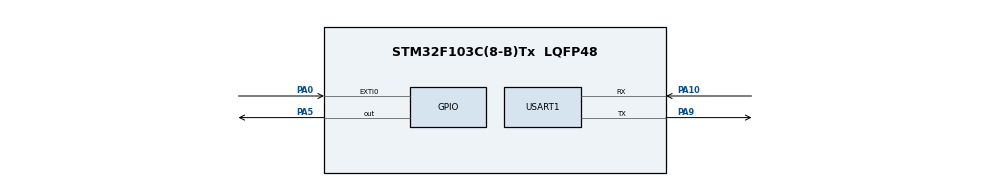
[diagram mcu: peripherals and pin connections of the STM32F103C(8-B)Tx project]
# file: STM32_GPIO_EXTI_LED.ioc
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Mcu.Family=STM32F1
Mcu.Name=STM32F103C(8-B)Tx
Mcu.Package=LQFP48
NVIC.EXTI0_IRQn=true\:0\:0\:false\:false\:true\:true\:true\:true
NVIC.PriorityGroup=NVIC_PRIORITYGROUP_4
NVIC.TIM2_IRQn=true\:0\:0\:false\:false\:true\:true\:true\:true
NVIC.USART1_IRQn=true\:0\:0\:false\:false\:true\:true\:true\:true
PA0-WKUP.GPIO_PuPd=GPIO_PULLDOWN
PA0-WKUP.Signal=GPXTI0
PA10.Mode=Asynchronous
PA10.Signal=USART1_RX
PA5.Signal=GPIO_Output
PA9.Mode=Asynchronous
PA9.Signal=USART1_TX
ProjectManager.HeapSize=0x200
ProjectManager.StackSize=0x400
ProjectManager.TargetToolchain=CMake
RCC.APB1Freq_Value=8000000
RCC.APB2Freq_Value=8000000
TIM2.Period=0
TIM2.Prescaler=7999
USART1.VirtualMode=VM_ASYNC
VP_SYS_VS_ND.Mode=No_Debug
VP_TIM2_VS_ClockSourceINT.Mode=Internal
board=custom

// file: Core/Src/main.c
/* USER CODE BEGIN Header */
/**
  ******************************************************************************
  * @file           : main.c
  * @brief          : Main program body
  ******************************************************************************
  * @attention
  *
  * Copyright (c) 2026 STMicroelectronics.
  * All rights reserved.
  *
  * This software is licensed under terms that can be found in the LICENSE file
  * in the root directory of this software component.
  * If no LICENSE file comes with this software, it is provided AS-IS.
  *
  ******************************************************************************
  */
/* USER CODE END Header */
#include "main.h"
#include "stm32f103xb.h"
#include "stm32f1xx_hal_gpio.h"
#include "stm32f1xx_hal_uart.h"

/* USER CODE BEGIN Includes */
#include <stddef.h>
#include <stdint.h>
#include <string.h>
/* USER CODE END Includes */

/* USER CODE BEGIN PTD */

typedef enum {
  LED_MODE_ON,
  LED_MODE_OFF,
  LED_MODE_BLINK
} LED_Mode_t;

typedef enum {
  COMMAND_STATE_NORMAL,
  COMMAND_STATE_DISCARD
} CommandState_t;

typedef void (*CommandHandler_t)(char *argument);

typedef struct {
  const char *name;
  CommandHandler_t handler;
  uint8_t require_argument;
} Command_t;

typedef struct {
  char *command;
  char *argument;
  char *extra_argument;
} ParsedCommand_t;

/* USER CODE END PTD */

/* USER CODE BEGIN PD */

#define BUTTON_DEBOUNCE_TIME 50
#define LED_PERIOD 500
#define HEARTBEAT_PERIOD 1000
#define UART_RX_RING_SIZE 64
#define COMMAND_BUFFER_SIZE 64
#define UART_TX_TIMEOUT 100

/* USER CODE END PD */

TIM_HandleTypeDef htim2;

UART_HandleTypeDef huart1;

/* USER CODE BEGIN PV */

volatile uint8_t button_pressed = 0;
uint32_t last_button_tick = 0;

volatile uint32_t timer_tick  = 0;

uint8_t rx_data;
uint8_t command_buffer[COMMAND_BUFFER_SIZE];
uint8_t uart_rx_ring[UART_RX_RING_SIZE];
volatile uint8_t uart_rx_head = 0;
volatile uint8_t uart_rx_tail = 0;
volatile uint8_t uart_rx_overflow = 0;
volatile uint8_t command_overflow = 0;
volatile uint8_t command_ready = 0;

static CommandState_t command_state = COMMAND_STATE_NORMAL;

LED_Mode_t led_mode = LED_MODE_BLINK;

/* USER CODE END PV */

void SystemClock_Config(void);
static void MX_GPIO_Init(void);
static void MX_TIM2_Init(void);
static void MX_USART1_UART_Init(void);

/* USER CODE BEGIN PFP */
void LED_Task(void);
void Heartbeat_Task(void);
void Command_Task(void);

uint8_t UART_RingBuffer_Put(uint8_t data);
uint8_t UART_RingBuffer_Get(uint8_t *data);
void UART_Error_BufferOverflow(void);
void Command_Error_BufferOverflow(void);
void UART_SendString(const char *str);
uint8_t Command_Parse(char *buffer, ParsedCommand_t *res);
void Command_FindAndExecute(char *command, char *argument, char *extra_argument);

/* USER CODE END PFP */

int main(void)
{

  /* MCU Configuration--------------------------------------------------------*/

  /* Reset of all peripherals, Initializes the Flash interface and the Systick. */
  HAL_Init();

  /* Configure the system clock */
  SystemClock_Config();

  /* Initialize all configured peripherals */
  MX_GPIO_Init();
  MX_TIM2_Init();
  MX_USART1_UART_Init();
  /* USER CODE BEGIN 2 */
  HAL_TIM_Base_Start_IT(&htim2);
  HAL_UART_Receive_IT(&huart1, &rx_data, 1);
  /* USER CODE END 2 */

  /* Infinite loop */
  while (1)
  {

    /* USER CODE BEGIN 3 */
    LED_Task();
    Heartbeat_Task();
    Command_Task();
    UART_Error_BufferOverflow();
    Command_Error_BufferOverflow();

    if (button_pressed) {
      button_pressed = 0;

      if(led_mode == LED_MODE_ON) {
        led_mode = LED_MODE_OFF;
      }
      else if (led_mode == LED_MODE_OFF) {
        led_mode = LED_MODE_ON;
      }
      else if (led_mode == LED_MODE_BLINK) {
        led_mode = LED_MODE_ON;
      }
    }
  }
  /* USER CODE END 3 */
}

void SystemClock_Config(void)
{
  RCC_OscInitTypeDef RCC_OscInitStruct = {0};
  RCC_ClkInitTypeDef RCC_ClkInitStruct = {0};

  /** Initializes the RCC Oscillators according to the specified parameters
  * in the RCC_OscInitTypeDef structure.
  */
  RCC_OscInitStruct.OscillatorType = RCC_OSCILLATORTYPE_HSI;
  RCC_OscInitStruct.HSIState = RCC_HSI_ON;
  RCC_OscInitStruct.HSICalibrationValue = RCC_HSICALIBRATION_DEFAULT;
  RCC_OscInitStruct.PLL.PLLState = RCC_PLL_NONE;
  if (HAL_RCC_OscConfig(&RCC_OscInitStruct) != HAL_OK)
  {
    Error_Handler();
  }

  /** Initializes the CPU, AHB and APB buses clocks
  */
  RCC_ClkInitStruct.ClockType = RCC_CLOCKTYPE_HCLK|RCC_CLOCKTYPE_SYSCLK
                              |RCC_CLOCKTYPE_PCLK1|RCC_CLOCKTYPE_PCLK2;
  RCC_ClkInitStruct.SYSCLKSource = RCC_SYSCLKSOURCE_HSI;
  RCC_ClkInitStruct.AHBCLKDivider = RCC_SYSCLK_DIV1;
  RCC_ClkInitStruct.APB1CLKDivider = RCC_HCLK_DIV1;
  RCC_ClkInitStruct.APB2CLKDivider = RCC_HCLK_DIV1;

  if (HAL_RCC_ClockConfig(&RCC_ClkInitStruct, FLASH_LATENCY_0) != HAL_OK)
  {
    Error_Handler();
  }
}

static void MX_TIM2_Init(void)
{

  TIM_ClockConfigTypeDef sClockSourceConfig = {0};
  TIM_MasterConfigTypeDef sMasterConfig = {0};

  htim2.Instance = TIM2;
  htim2.Init.Prescaler = 7999;
  htim2.Init.CounterMode = TIM_COUNTERMODE_UP;
  htim2.Init.Period = 0;
  htim2.Init.ClockDivision = TIM_CLOCKDIVISION_DIV1;
  htim2.Init.AutoReloadPreload = TIM_AUTORELOAD_PRELOAD_DISABLE;
  if (HAL_TIM_Base_Init(&htim2) != HAL_OK)
  {
    Error_Handler();
  }
  sClockSourceConfig.ClockSource = TIM_CLOCKSOURCE_INTERNAL;
  if (HAL_TIM_ConfigClockSource(&htim2, &sClockSourceConfig) != HAL_OK)
  {
    Error_Handler();
  }
  sMasterConfig.MasterOutputTrigger = TIM_TRGO_RESET;
  sMasterConfig.MasterSlaveMode = TIM_MASTERSLAVEMODE_DISABLE;
  if (HAL_TIMEx_MasterConfigSynchronization(&htim2, &sMasterConfig) != HAL_OK)
  {
    Error_Handler();
  }

}

static void MX_USART1_UART_Init(void)
{

  huart1.Instance = USART1;
  huart1.Init.BaudRate = 115200;
  huart1.Init.WordLength = UART_WORDLENGTH_8B;
  huart1.Init.StopBits = UART_STOPBITS_1;
  huart1.Init.Parity = UART_PARITY_NONE;
  huart1.Init.Mode = UART_MODE_TX_RX;
  huart1.Init.HwFlowCtl = UART_HWCONTROL_NONE;
  huart1.Init.OverSampling = UART_OVERSAMPLING_16;
  if (HAL_UART_Init(&huart1) != HAL_OK)
  {
    Error_Handler();
  }

}

static void MX_GPIO_Init(void)
{
  GPIO_InitTypeDef GPIO_InitStruct = {0};

  /* GPIO Ports Clock Enable */
  __HAL_RCC_GPIOA_CLK_ENABLE();

  /*Configure GPIO pin Output Level */
  HAL_GPIO_WritePin(GPIOA, GPIO_PIN_5, GPIO_PIN_RESET);

  /*Configure GPIO pin : PA0 */
  GPIO_InitStruct.Pin = GPIO_PIN_0;
  GPIO_InitStruct.Mode = GPIO_MODE_IT_RISING;
  GPIO_InitStruct.Pull = GPIO_PULLDOWN;
  HAL_GPIO_Init(GPIOA, &GPIO_InitStruct);

  /*Configure GPIO pin : PA5 */
  GPIO_InitStruct.Pin = GPIO_PIN_5;
  GPIO_InitStruct.Mode = GPIO_MODE_OUTPUT_PP;
  GPIO_InitStruct.Pull = GPIO_NOPULL;
  GPIO_InitStruct.Speed = GPIO_SPEED_FREQ_LOW;
  HAL_GPIO_Init(GPIOA, &GPIO_InitStruct);

  /* EXTI interrupt init*/
  HAL_NVIC_SetPriority(EXTI0_IRQn, 0, 0);
  HAL_NVIC_EnableIRQ(EXTI0_IRQn);

}

/* USER CODE BEGIN 4 */

void HAL_GPIO_EXTI_Callback(uint16_t GPIO_Pin)
{
  if (GPIO_Pin == GPIO_PIN_0) {
    uint32_t current_tick = HAL_GetTick();

    if((current_tick - last_button_tick) >= BUTTON_DEBOUNCE_TIME) {
      button_pressed = 1;
      last_button_tick = current_tick;
    }
  }
}

void HAL_TIM_PeriodElapsedCallback(TIM_HandleTypeDef *htim) {
  if (htim->Instance == TIM2) {
    timer_tick++;
  }
}

void LED_Task(void) {
  static uint32_t last_tick = 0;
  static LED_Mode_t led_previous_mode = LED_MODE_OFF;

  if (led_mode != led_previous_mode) {
    led_previous_mode = led_mode;
    last_tick = timer_tick;
  }

  switch (led_mode) {
    case LED_MODE_ON:
      HAL_GPIO_WritePin(GPIOA, GPIO_PIN_5, GPIO_PIN_SET);
      break;

    case LED_MODE_OFF:
      HAL_GPIO_WritePin(GPIOA, GPIO_PIN_5, GPIO_PIN_RESET);
      break;

    case LED_MODE_BLINK:
      if(timer_tick - last_tick >= LED_PERIOD) {
        last_tick += LED_PERIOD;
        HAL_GPIO_TogglePin(GPIOA, GPIO_PIN_5);
      }
      break;

    default:
      led_mode = LED_MODE_OFF;
      break;
  }
}

void Heartbeat_Task(void) {
  static uint32_t last_tick = 0;

  if((timer_tick - last_tick) >= HEARTBEAT_PERIOD) {
    last_tick += HEARTBEAT_PERIOD;
    // ...
  }
}

void Command_Task(void) {
  uint8_t data;
  static uint8_t command_index = 0;

  if (command_ready) {
    command_ready = 0;

    ParsedCommand_t parsed;

    if (!Command_Parse((char*)command_buffer, &parsed)) {
      UART_SendString("ERROR: UNKNOWN COMMAND\r\n");
      return;
    }

    Command_FindAndExecute(parsed.command, parsed.argument, parsed.extra_argument);
  }

  if (uart_rx_overflow) {
    command_state = COMMAND_STATE_DISCARD;
    command_index = 0;
  }

  while(UART_RingBuffer_Get(&data)) {
    if (command_state == COMMAND_STATE_DISCARD) {
      if (data == '\n') {
        command_state = COMMAND_STATE_NORMAL;
      }
      continue;
    }

    if (data == '\r') continue;

    if (data == '\n') {
      command_buffer[command_index] = '\0';
      command_ready = 1;
      command_index = 0;
      break;
    }

    if (command_index >= COMMAND_BUFFER_SIZE - 1) {
      command_overflow = 1;
      command_state = COMMAND_STATE_DISCARD;
      command_index = 0;
      continue;
    }

    command_buffer[command_index++] = data;
  }
}

uint8_t UART_RingBuffer_Put(uint8_t data) {
  uint8_t next_head;
  next_head = (uart_rx_head + 1) % UART_RX_RING_SIZE;

  if (next_head == uart_rx_tail) {
    return 0;
  }

  uart_rx_ring[uart_rx_head] = data;
  uart_rx_head = next_head;

  return 1;
}

uint8_t UART_RingBuffer_Get(uint8_t *data) {
  uint8_t next_tail;

  if (uart_rx_tail == uart_rx_head) {
    return 0;
  }

  *data = uart_rx_ring[uart_rx_tail];

  next_tail = (uart_rx_tail + 1) % UART_RX_RING_SIZE;
  uart_rx_tail = next_tail;

  return 1;
}

void UART_Error_BufferOverflow(void) {
  if (uart_rx_overflow) {
    uart_rx_overflow = 0;
    UART_SendString("ERROR: RX BUFFER OVERFLOW\r\n");
  }
}

void Command_Error_BufferOverflow(void) {
  if (command_overflow) {
    command_overflow = 0;
    UART_SendString("ERROR: COMMAND TOO LONG\r\n");
  }
}

void HAL_UART_RxCpltCallback(UART_HandleTypeDef *huart) {
  if (huart->Instance == USART1) {

    if (!UART_RingBuffer_Put(rx_data)) {
      uart_rx_overflow = 1;
    }

    HAL_UART_Receive_IT(&huart1, &rx_data, 1);
  }
}

void UART_SendString(const char* str) {
  HAL_UART_Transmit(
    &huart1,
    (uint8_t *)str,
    strlen(str),
    UART_TX_TIMEOUT
  );
}

void LED_Handler(char *argument) {
  if (argument == NULL) {
    UART_SendString("ERROR: INVALID ARGUMENT\r\n");
    return;
  }
  if (strcmp(argument, "ON") == 0) {
    led_mode = LED_MODE_ON;

    UART_SendString("OK\r\n");
  }
  else if (strcmp(argument, "OFF") == 0) {
    led_mode = LED_MODE_OFF;

    UART_SendString("OK\r\n");
  }
  else if (strcmp(argument, "TOGGLE") == 0) {
    if (led_mode == LED_MODE_ON) {
      led_mode = LED_MODE_OFF;
    }
    // LED_MODE_OFF & LED_MODE_BLINK toggle to ON
    else {
      led_mode = LED_MODE_ON;
    }

    UART_SendString("OK\r\n");
  }
  else if (strcmp(argument, "BLINK") == 0) {
    led_mode = LED_MODE_BLINK;

    UART_SendString("OK\r\n");
  }
  else if (strcmp(argument, "STATUS") == 0) {
    if(led_mode == LED_MODE_ON) {
      UART_SendString("LED IS ON\r\n");
    }
    else if (led_mode == LED_MODE_OFF) {
      UART_SendString("LED IS OFF\r\n");
    }
    else {
      UART_SendString("LED IS BLINKING\r\n");
    }
  }
  else if (strcmp(argument, "RESET") == 0) {
    led_mode = LED_MODE_OFF;

    UART_SendString("OK: LED RESET\r\n");
  }
  else {
    UART_SendString("ERROR: INVALID ARGUMENT\r\n");
  }
}

void Help_Handler(char *argument) {
  (void)argument;

  UART_SendString(
    "Commands:\r\n"
        "LED ON\r\n"
        "LED OFF\r\n"
        "LED TOGGLE\r\n"
        "LED BLINK\r\n"
        "LED RESET\r\n"
        "LED STATUS\r\n"
        "HELP\r\n"
        "VERSION\r\n"
  );
}

void Version_Handler(char* argument) {
  (void)argument;
  UART_SendString(
    "Firmware: STM32 LED Controller\r\n"
    "Version: 1.0\r\n"
  );
}

Command_t command_table[] =
{
  {"LED", LED_Handler, 1},
  {"HELP", Help_Handler, 0},
  {"VERSION", Version_Handler, 0}
};

uint8_t Command_Parse(char *buffer, ParsedCommand_t *res) {
  res->command = NULL;
  res->argument = NULL;
  res->extra_argument = NULL;

  char *p = buffer;

  while (*p == ' ') {
    p++;
  }

  // Nếu chuỗi rỗng trả về 0
  if (*p == '\0') {
    return 0;
  }

  char *command_start = p;

  while (*p != ' ' && *p != '\0') {
    p++;
  }

  if (*p == ' ') {
    *p = '\0';
    res->command = command_start;
    p++;

    while (*p == ' ') {
      p++;
    }

    if (*p == '\0') {
      return 1;
    }

    char *argument_start = p;
    while (*p != ' ' && *p != '\0') {
      p++;
    }

    if (*p == ' ') {
      *p = '\0';
      res->argument = argument_start;
      p++;

      while (*p == ' ') {
        p++;
      }

      if (*p == '\0') {
        return 1;
      }

      char *extra_argument_start = p;
      while (*p != ' ' && *p != '\0') {
        p++;
      }

      res->extra_argument = extra_argument_start;
      return 1;
    }

    res->argument = argument_start;
    return 1;
  }

  res->command = command_start;
  return 1;
}

void Command_FindAndExecute(char *command, char *argument, char *extra_argument) {
  if (command == NULL) {
    UART_SendString("ERROR: UNKNOWN COMMAND\r\n");
    return;
  }

  size_t command_cnt = sizeof(command_table) / sizeof(command_table[0]);

  for(size_t i = 0; i < command_cnt; i++) {
    if (strcmp(command_table[i].name, command) == 0) {
      if (command_table[i].require_argument) {
        if (argument == NULL) {
          UART_SendString("ERROR: MISSING ARGUMENT\r\n");
          return;
        }

        if (extra_argument != NULL) {
          UART_SendString("ERROR: TOO MANY ARGUMENTS\r\n");
          return;
        }
      }
      else {
        if (argument != NULL) {
          UART_SendString("ERROR: TOO MANY ARGUMENTS\r\n");
          return;
        }
      }
      command_table[i].handler(argument);
      return;
    }
  }

  UART_SendString("ERROR: UNKNOWN COMMAND\r\n");
}

/* USER CODE END 4 */

void Error_Handler(void)
{
  __disable_irq();
  while (1)
  {
  }
}
